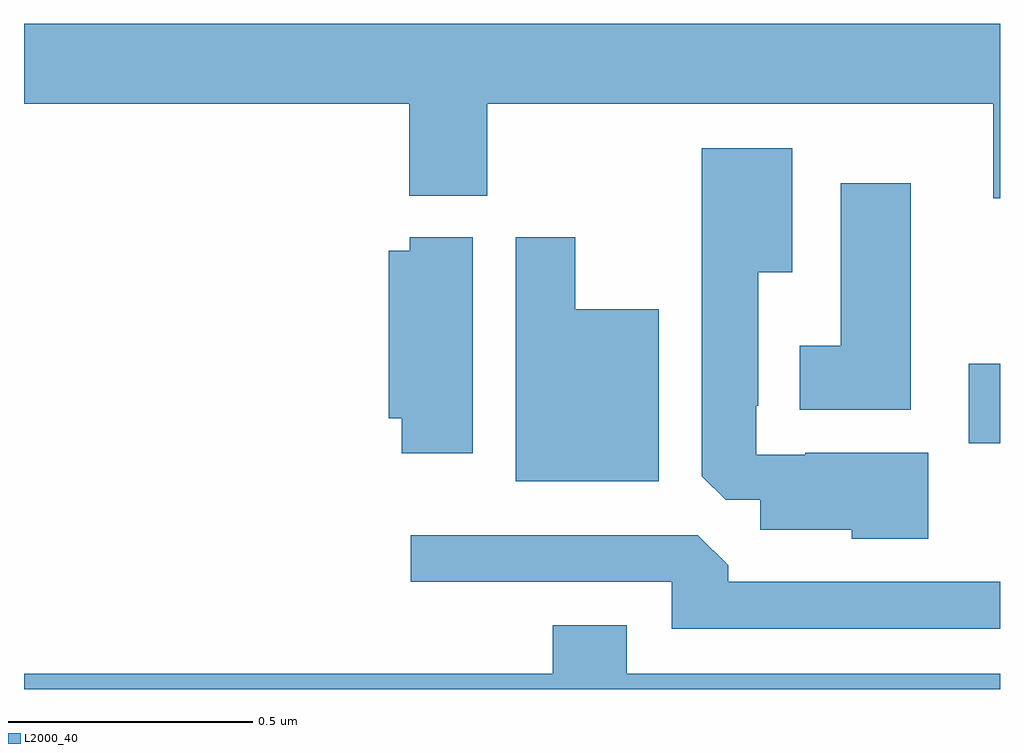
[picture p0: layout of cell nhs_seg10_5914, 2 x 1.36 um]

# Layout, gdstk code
import gdstk
lib = gdstk.Library(unit=1e-6, precision=1e-09)
def R(c, l, rs):  # rectangles x0, y0, x1, y1
    for r in rs: c.add(gdstk.rectangle(r[:2], r[2:], *l))
def P(c, l, *ps):  # polygons
    for p in ps: c.add(gdstk.Polygon(p, *l))
L2000_40 = (2000, 40)

nhs_seg10_5914 = lib.new_cell('nhs_seg10_5914')
R(nhs_seg10_5914, L2000_40, [(186.936,1249.004,187,1249.167)])
P(nhs_seg10_5914, L2000_40, [(187,1249.864),(185,1249.864),(185,1249.7),(185.789,1249.7),(185.789,1249.511),(185.949,1249.511),(185.949,1249.7),(186.986,1249.7),(186.986,1249.506),(187,1249.506)],
  [(186.853,1248.985),(186.601,1248.985),(186.601,1248.981),(186.501,1248.981),(186.501,1249.081),(186.505,1249.081),(186.505,1249.355),(186.574,1249.355),(186.574,1249.609),(186.389,1249.609),(186.389,1248.937),(186.438,1248.888),(186.509,1248.888),(186.509,1248.827),(186.696,1248.827),(186.696,1248.809),(186.853,1248.809)],
  [(186.817,1249.537),(186.674,1249.537),(186.674,1249.204),(186.59,1249.204),(186.59,1249.073),(186.817,1249.073)],
  [(186.301,1249.279),(186.13,1249.279),(186.13,1249.426),(186.008,1249.426),(186.008,1248.926),(186.301,1248.926)],
  [(185.92,1249.426),(185.79,1249.426),(185.79,1249.399),(185.747,1249.399),(185.747,1249.055),(185.774,1249.055),(185.774,1248.984),(185.92,1248.984)],
  [(187,1248.72),(186.443,1248.72),(186.443,1248.754),(186.381,1248.816),(185.793,1248.816),(185.793,1248.72),(186.327,1248.72),(186.327,1248.624),(187,1248.624)],
  [(187,1248.532),(186.235,1248.532),(186.235,1248.631),(186.083,1248.631),(186.083,1248.532),(185,1248.532),(185,1248.5),(187,1248.5)])

lib.write_gds('nhs_seg10_5914.gds')
